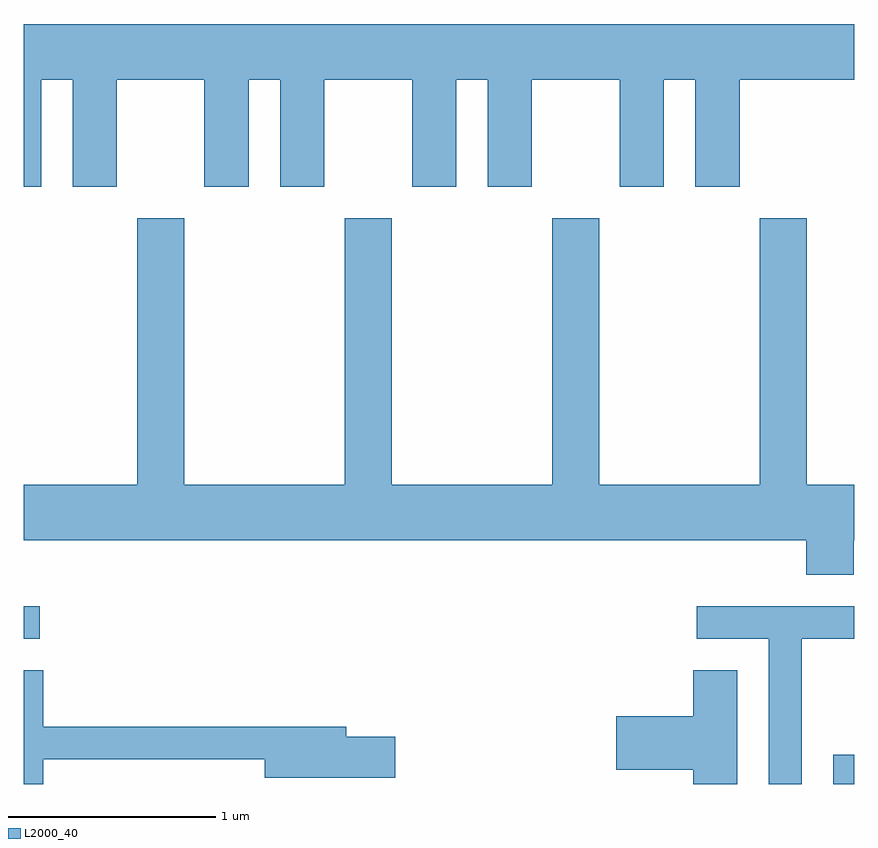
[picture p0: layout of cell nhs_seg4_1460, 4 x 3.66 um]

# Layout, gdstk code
import gdstk
lib = gdstk.Library(unit=1e-6, precision=1e-09)
def R(c, l, rs):  # rectangles x0, y0, x1, y1
    for r in rs: c.add(gdstk.rectangle(r[:2], r[2:], *l))
def P(c, l, *ps):  # polygons
    for p in ps: c.add(gdstk.Polygon(p, *l))
L2000_40 = (2000, 40)

nhs_seg4_1460 = lib.new_cell('nhs_seg4_1460')
R(nhs_seg4_1460, L2000_40, [(231.511,1317.982,231.611,1318.124), (227.611,1318.681,227.688,1318.839)])
P(nhs_seg4_1460, L2000_40, [(227.694,1321.376),(227.846,1321.376),(227.846,1320.861),(228.059,1320.861),(228.059,1321.376),(228.481,1321.376),(228.481,1320.861),(228.694,1320.861),(228.694,1321.376),(228.846,1321.376),(228.846,1320.861),(229.059,1320.861),(229.059,1321.376),(229.481,1321.376),(229.481,1320.861),(229.694,1320.861),(229.694,1321.376),(229.846,1321.376),(229.846,1320.861),(230.059,1320.861),(230.059,1321.376),(230.481,1321.376),(230.481,1320.861),(230.694,1320.861),(230.694,1321.376),(230.846,1321.376),(230.846,1320.861),(231.059,1320.861),(231.059,1321.376),(231.611,1321.376),(231.611,1321.644),(227.611,1321.644),(227.611,1320.861),(227.694,1320.861)],
  [(231.609,1319.156),(231.611,1319.156),(231.611,1319.424),(231.384,1319.424),(231.384,1320.709),(231.156,1320.709),(231.156,1319.424),(230.384,1319.424),(230.384,1320.709),(230.156,1320.709),(230.156,1319.424),(229.384,1319.424),(229.384,1320.709),(229.156,1320.709),(229.156,1319.424),(228.384,1319.424),(228.384,1320.709),(228.156,1320.709),(228.156,1319.424),(227.611,1319.424),(227.611,1319.156),(231.381,1319.156),(231.381,1318.991),(231.609,1318.991)],
  [(231.359,1318.681),(231.611,1318.681),(231.611,1318.839),(230.853,1318.839),(230.853,1318.681),(231.201,1318.681),(231.201,1317.982),(231.359,1317.982)],
  [(231.049,1318.529),(230.836,1318.529),(230.836,1318.309),(230.466,1318.309),(230.466,1318.051),(230.836,1318.051),(230.836,1317.982),(231.049,1317.982)],
  [(227.704,1318.101),(228.771,1318.101),(228.771,1318.011),(229.399,1318.011),(229.399,1318.209),(229.164,1318.209),(229.164,1318.259),(227.704,1318.259),(227.704,1318.529),(227.611,1318.529),(227.611,1317.982),(227.704,1317.982)])

lib.write_gds('nhs_seg4_1460.gds')
